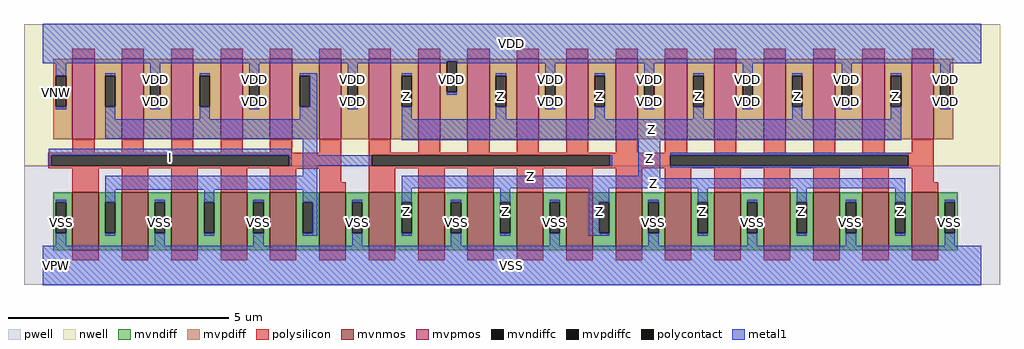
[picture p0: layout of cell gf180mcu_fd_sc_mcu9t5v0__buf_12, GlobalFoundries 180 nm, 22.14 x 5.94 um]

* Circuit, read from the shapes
.subckt gf180mcu_fd_sc_mcu9t5v0__buf_12 I Z VDD VNW VPW VSS
XM1 n1 I VSS VPW nfet_06v0 w=1.32u l=0.6u m=6
XM2 Z n1 VSS VPW nfet_06v0 w=1.32u l=0.6u m=12
XM3 n1 I VDD VNW pfet_06v0 w=1.83u l=0.5u m=6
XM4 Z n1 VDD VNW pfet_06v0 w=1.83u l=0.5u m=12
.ends

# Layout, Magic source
magic
tech gf180mcuD
magscale 1 10
<< nwell >>
rect -86 453 4342 1094
<< pwell >>
rect -86 -86 4342 453
<< mvnmos >>
rect 134 69 254 333
rect 358 69 478 333
rect 582 69 702 333
rect 806 69 926 333
rect 1030 69 1150 333
rect 1254 69 1374 333
rect 1478 69 1598 333
rect 1702 69 1822 333
rect 1926 69 2046 333
rect 2150 69 2270 333
rect 2374 69 2494 333
rect 2598 69 2718 333
rect 2822 69 2942 333
rect 3046 69 3166 333
rect 3270 69 3390 333
rect 3494 69 3614 333
rect 3718 69 3838 333
rect 3942 69 4062 333
<< mvpmos >>
rect 134 573 234 939
rect 358 573 458 939
rect 582 573 682 939
rect 806 573 906 939
rect 1030 573 1130 939
rect 1254 573 1354 939
rect 1478 573 1578 939
rect 1702 573 1802 939
rect 1926 573 2026 939
rect 2150 573 2250 939
rect 2374 573 2474 939
rect 2598 573 2698 939
rect 2822 573 2922 939
rect 3046 573 3146 939
rect 3270 573 3370 939
rect 3494 573 3594 939
rect 3718 573 3818 939
rect 3942 573 4042 939
<< mvndiff >>
rect 46 287 134 333
rect 46 147 59 287
rect 105 147 134 287
rect 46 69 134 147
rect 254 287 358 333
rect 254 147 283 287
rect 329 147 358 287
rect 254 69 358 147
rect 478 287 582 333
rect 478 147 507 287
rect 553 147 582 287
rect 478 69 582 147
rect 702 287 806 333
rect 702 147 731 287
rect 777 147 806 287
rect 702 69 806 147
rect 926 287 1030 333
rect 926 147 955 287
rect 1001 147 1030 287
rect 926 69 1030 147
rect 1150 287 1254 333
rect 1150 147 1179 287
rect 1225 147 1254 287
rect 1150 69 1254 147
rect 1374 287 1478 333
rect 1374 147 1403 287
rect 1449 147 1478 287
rect 1374 69 1478 147
rect 1598 287 1702 333
rect 1598 147 1627 287
rect 1673 147 1702 287
rect 1598 69 1702 147
rect 1822 287 1926 333
rect 1822 147 1851 287
rect 1897 147 1926 287
rect 1822 69 1926 147
rect 2046 287 2150 333
rect 2046 147 2075 287
rect 2121 147 2150 287
rect 2046 69 2150 147
rect 2270 287 2374 333
rect 2270 147 2299 287
rect 2345 147 2374 287
rect 2270 69 2374 147
rect 2494 287 2598 333
rect 2494 147 2523 287
rect 2569 147 2598 287
rect 2494 69 2598 147
rect 2718 287 2822 333
rect 2718 147 2747 287
rect 2793 147 2822 287
rect 2718 69 2822 147
rect 2942 287 3046 333
rect 2942 147 2971 287
rect 3017 147 3046 287
rect 2942 69 3046 147
rect 3166 287 3270 333
rect 3166 147 3195 287
rect 3241 147 3270 287
rect 3166 69 3270 147
rect 3390 287 3494 333
rect 3390 147 3419 287
rect 3465 147 3494 287
rect 3390 69 3494 147
rect 3614 287 3718 333
rect 3614 147 3643 287
rect 3689 147 3718 287
rect 3614 69 3718 147
rect 3838 287 3942 333
rect 3838 147 3867 287
rect 3913 147 3942 287
rect 3838 69 3942 147
rect 4062 287 4150 333
rect 4062 147 4091 287
rect 4137 147 4150 287
rect 4062 69 4150 147
<< mvpdiff >>
rect 46 861 134 939
rect 46 721 59 861
rect 105 721 134 861
rect 46 573 134 721
rect 234 861 358 939
rect 234 721 283 861
rect 329 721 358 861
rect 234 573 358 721
rect 458 861 582 939
rect 458 721 487 861
rect 533 721 582 861
rect 458 573 582 721
rect 682 861 806 939
rect 682 721 711 861
rect 757 721 806 861
rect 682 573 806 721
rect 906 861 1030 939
rect 906 721 935 861
rect 981 721 1030 861
rect 906 573 1030 721
rect 1130 861 1254 939
rect 1130 721 1164 861
rect 1210 721 1254 861
rect 1130 573 1254 721
rect 1354 861 1478 939
rect 1354 721 1383 861
rect 1429 721 1478 861
rect 1354 573 1478 721
rect 1578 861 1702 939
rect 1578 721 1627 861
rect 1673 721 1702 861
rect 1578 573 1702 721
rect 1802 926 1926 939
rect 1802 786 1831 926
rect 1877 786 1926 926
rect 1802 573 1926 786
rect 2026 861 2150 939
rect 2026 721 2055 861
rect 2101 721 2150 861
rect 2026 573 2150 721
rect 2250 861 2374 939
rect 2250 721 2279 861
rect 2325 721 2374 861
rect 2250 573 2374 721
rect 2474 861 2598 939
rect 2474 721 2503 861
rect 2549 721 2598 861
rect 2474 573 2598 721
rect 2698 861 2822 939
rect 2698 721 2727 861
rect 2773 721 2822 861
rect 2698 573 2822 721
rect 2922 861 3046 939
rect 2922 721 2951 861
rect 2997 721 3046 861
rect 2922 573 3046 721
rect 3146 861 3270 939
rect 3146 721 3175 861
rect 3221 721 3270 861
rect 3146 573 3270 721
rect 3370 861 3494 939
rect 3370 721 3399 861
rect 3445 721 3494 861
rect 3370 573 3494 721
rect 3594 861 3718 939
rect 3594 721 3623 861
rect 3669 721 3718 861
rect 3594 573 3718 721
rect 3818 861 3942 939
rect 3818 721 3847 861
rect 3893 721 3942 861
rect 3818 573 3942 721
rect 4042 861 4130 939
rect 4042 721 4071 861
rect 4117 721 4130 861
rect 4042 573 4130 721
<< mvndiffc >>
rect 59 147 105 287
rect 283 147 329 287
rect 507 147 553 287
rect 731 147 777 287
rect 955 147 1001 287
rect 1179 147 1225 287
rect 1403 147 1449 287
rect 1627 147 1673 287
rect 1851 147 1897 287
rect 2075 147 2121 287
rect 2299 147 2345 287
rect 2523 147 2569 287
rect 2747 147 2793 287
rect 2971 147 3017 287
rect 3195 147 3241 287
rect 3419 147 3465 287
rect 3643 147 3689 287
rect 3867 147 3913 287
rect 4091 147 4137 287
<< mvpdiffc >>
rect 59 721 105 861
rect 283 721 329 861
rect 487 721 533 861
rect 711 721 757 861
rect 935 721 981 861
rect 1164 721 1210 861
rect 1383 721 1429 861
rect 1627 721 1673 861
rect 1831 786 1877 926
rect 2055 721 2101 861
rect 2279 721 2325 861
rect 2503 721 2549 861
rect 2727 721 2773 861
rect 2951 721 2997 861
rect 3175 721 3221 861
rect 3399 721 3445 861
rect 3623 721 3669 861
rect 3847 721 3893 861
rect 4071 721 4117 861
<< polysilicon >>
rect 134 939 234 983
rect 358 939 458 983
rect 582 939 682 983
rect 806 939 906 983
rect 1030 939 1130 983
rect 1254 939 1354 983
rect 1478 939 1578 983
rect 1702 939 1802 983
rect 1926 939 2026 983
rect 2150 939 2250 983
rect 2374 939 2474 983
rect 2598 939 2698 983
rect 2822 939 2922 983
rect 3046 939 3146 983
rect 3270 939 3370 983
rect 3494 939 3594 983
rect 3718 939 3818 983
rect 3942 939 4042 983
rect 134 513 234 573
rect 358 513 458 573
rect 582 513 682 573
rect 806 513 906 573
rect 1030 513 1130 573
rect 1254 513 1354 573
rect 24 500 1354 513
rect 24 454 37 500
rect 1117 454 1354 500
rect 24 441 1354 454
rect 134 333 254 441
rect 358 333 478 441
rect 582 333 702 441
rect 806 333 926 441
rect 1030 439 1354 441
rect 1030 333 1150 439
rect 1254 377 1354 439
rect 1478 513 1578 573
rect 1702 513 1802 573
rect 1926 513 2026 573
rect 2150 513 2250 573
rect 2374 513 2474 573
rect 2598 513 2698 573
rect 1478 511 2698 513
rect 2822 513 2922 573
rect 3046 513 3146 573
rect 3270 513 3370 573
rect 3494 513 3594 573
rect 3718 513 3818 573
rect 3942 513 4042 573
rect 2822 511 4042 513
rect 1478 500 4042 511
rect 1478 454 1491 500
rect 2571 454 2846 500
rect 3926 454 4042 500
rect 1478 441 4042 454
rect 1254 333 1374 377
rect 1478 333 1598 441
rect 1702 333 1822 441
rect 1926 333 2046 441
rect 2150 333 2270 441
rect 2374 333 2494 441
rect 2598 333 2718 441
rect 2822 333 2942 441
rect 3046 333 3166 441
rect 3270 333 3390 441
rect 3494 333 3614 441
rect 3718 333 3838 441
rect 3942 377 4042 441
rect 3942 333 4062 377
rect 134 25 254 69
rect 358 25 478 69
rect 582 25 702 69
rect 806 25 926 69
rect 1030 25 1150 69
rect 1254 25 1374 69
rect 1478 25 1598 69
rect 1702 25 1822 69
rect 1926 25 2046 69
rect 2150 25 2270 69
rect 2374 25 2494 69
rect 2598 25 2718 69
rect 2822 25 2942 69
rect 3046 25 3166 69
rect 3270 25 3390 69
rect 3494 25 3614 69
rect 3718 25 3838 69
rect 3942 25 4062 69
<< polycontact >>
rect 37 454 1117 500
rect 1491 454 2571 500
rect 2846 454 3926 500
<< metal1 >>
rect 0 926 4256 1098
rect 0 918 1831 926
rect 59 861 105 918
rect 59 710 105 721
rect 283 861 329 872
rect 283 664 329 721
rect 487 861 533 918
rect 487 710 533 721
rect 711 861 757 872
rect 711 664 757 721
rect 935 861 981 918
rect 935 710 981 721
rect 1164 861 1245 872
rect 1210 721 1245 861
rect 1164 664 1245 721
rect 1383 861 1429 918
rect 1383 710 1429 721
rect 1627 861 1673 872
rect 1877 918 4256 926
rect 1831 775 1877 786
rect 2055 861 2101 872
rect 283 576 1245 664
rect 26 500 1128 530
rect 26 454 37 500
rect 1117 454 1128 500
rect 1179 500 1245 576
rect 1627 664 1673 721
rect 2055 664 2101 721
rect 2279 861 2325 918
rect 2279 710 2325 721
rect 2503 861 2549 872
rect 2503 664 2549 721
rect 2727 861 2773 918
rect 2727 710 2773 721
rect 2951 861 2997 872
rect 2951 664 2997 721
rect 3175 861 3221 918
rect 3175 710 3221 721
rect 3399 861 3445 872
rect 3399 664 3445 721
rect 3623 861 3669 918
rect 3623 710 3669 721
rect 3847 861 3893 872
rect 3847 664 3893 721
rect 4071 861 4117 918
rect 4071 710 4117 721
rect 1627 568 3893 664
rect 1179 454 1491 500
rect 2571 454 2582 500
rect 1179 408 1245 454
rect 2700 408 2800 568
rect 2846 500 3926 511
rect 2846 443 3926 454
rect 283 344 1245 408
rect 59 287 105 298
rect 59 90 105 147
rect 283 287 329 344
rect 283 136 329 147
rect 507 287 553 298
rect 507 90 553 147
rect 731 287 777 344
rect 731 136 777 147
rect 955 287 1001 298
rect 955 90 1001 147
rect 1179 287 1245 344
rect 1627 397 2800 408
rect 1627 351 3913 397
rect 1225 147 1245 287
rect 1179 136 1245 147
rect 1403 287 1449 298
rect 1403 90 1449 147
rect 1627 287 1673 351
rect 1627 136 1673 147
rect 1851 287 1897 298
rect 1851 90 1897 147
rect 2075 287 2121 351
rect 2075 136 2121 147
rect 2299 287 2345 298
rect 2299 90 2345 147
rect 2477 287 2569 351
rect 2477 147 2523 287
rect 2477 136 2569 147
rect 2747 287 2793 298
rect 2747 90 2793 147
rect 2971 287 3017 351
rect 2971 136 3017 147
rect 3195 287 3241 298
rect 3195 90 3241 147
rect 3419 287 3465 351
rect 3419 136 3465 147
rect 3643 287 3689 298
rect 3643 90 3689 147
rect 3867 287 3913 351
rect 3867 136 3913 147
rect 4091 287 4137 298
rect 4091 90 4137 147
rect 0 -90 4256 90
<< labels >>
flabel metal1 s 26 454 1128 530 0 FreeSans 200 0 0 0 I
port 1 nsew default input
flabel metal1 s 0 918 4256 1098 0 FreeSans 200 0 0 0 VDD
port 3 nsew power bidirectional abutment
flabel metal1 s 4091 90 4137 298 0 FreeSans 200 0 0 0 VSS
port 6 nsew ground bidirectional abutment
flabel metal1 s 3847 664 3893 872 0 FreeSans 200 0 0 0 Z
port 2 nsew default output
flabel nwell s 10 734 110 834 0 FreeSans 400 0 0 0 VNW
port 4 nsew power bidirectional
flabel pwell s 10 -50 110 50 0 FreeSans 400 0 0 0 VPW
port 5 nsew ground bidirectional
rlabel metal1 s 3399 664 3445 872 1 Z
port 2 nsew default output
rlabel metal1 s 2951 664 2997 872 1 Z
port 2 nsew default output
rlabel metal1 s 2503 664 2549 872 1 Z
port 2 nsew default output
rlabel metal1 s 2055 664 2101 872 1 Z
port 2 nsew default output
rlabel metal1 s 1627 664 1673 872 1 Z
port 2 nsew default output
rlabel metal1 s 1627 568 3893 664 1 Z
port 2 nsew default output
rlabel metal1 s 2700 408 2800 568 1 Z
port 2 nsew default output
rlabel metal1 s 1627 397 2800 408 1 Z
port 2 nsew default output
rlabel metal1 s 1627 351 3913 397 1 Z
port 2 nsew default output
rlabel metal1 s 3867 136 3913 351 1 Z
port 2 nsew default output
rlabel metal1 s 3419 136 3465 351 1 Z
port 2 nsew default output
rlabel metal1 s 2971 136 3017 351 1 Z
port 2 nsew default output
rlabel metal1 s 2477 136 2569 351 1 Z
port 2 nsew default output
rlabel metal1 s 2075 136 2121 351 1 Z
port 2 nsew default output
rlabel metal1 s 1627 136 1673 351 1 Z
port 2 nsew default output
rlabel metal1 s 4071 775 4117 918 1 VDD
port 3 nsew power bidirectional abutment
rlabel metal1 s 3623 775 3669 918 1 VDD
port 3 nsew power bidirectional abutment
rlabel metal1 s 3175 775 3221 918 1 VDD
port 3 nsew power bidirectional abutment
rlabel metal1 s 2727 775 2773 918 1 VDD
port 3 nsew power bidirectional abutment
rlabel metal1 s 2279 775 2325 918 1 VDD
port 3 nsew power bidirectional abutment
rlabel metal1 s 1831 775 1877 918 1 VDD
port 3 nsew power bidirectional abutment
rlabel metal1 s 1383 775 1429 918 1 VDD
port 3 nsew power bidirectional abutment
rlabel metal1 s 935 775 981 918 1 VDD
port 3 nsew power bidirectional abutment
rlabel metal1 s 487 775 533 918 1 VDD
port 3 nsew power bidirectional abutment
rlabel metal1 s 59 775 105 918 1 VDD
port 3 nsew power bidirectional abutment
rlabel metal1 s 4071 710 4117 775 1 VDD
port 3 nsew power bidirectional abutment
rlabel metal1 s 3623 710 3669 775 1 VDD
port 3 nsew power bidirectional abutment
rlabel metal1 s 3175 710 3221 775 1 VDD
port 3 nsew power bidirectional abutment
rlabel metal1 s 2727 710 2773 775 1 VDD
port 3 nsew power bidirectional abutment
rlabel metal1 s 2279 710 2325 775 1 VDD
port 3 nsew power bidirectional abutment
rlabel metal1 s 1383 710 1429 775 1 VDD
port 3 nsew power bidirectional abutment
rlabel metal1 s 935 710 981 775 1 VDD
port 3 nsew power bidirectional abutment
rlabel metal1 s 487 710 533 775 1 VDD
port 3 nsew power bidirectional abutment
rlabel metal1 s 59 710 105 775 1 VDD
port 3 nsew power bidirectional abutment
rlabel metal1 s 3643 90 3689 298 1 VSS
port 6 nsew ground bidirectional abutment
rlabel metal1 s 3195 90 3241 298 1 VSS
port 6 nsew ground bidirectional abutment
rlabel metal1 s 2747 90 2793 298 1 VSS
port 6 nsew ground bidirectional abutment
rlabel metal1 s 2299 90 2345 298 1 VSS
port 6 nsew ground bidirectional abutment
rlabel metal1 s 1851 90 1897 298 1 VSS
port 6 nsew ground bidirectional abutment
rlabel metal1 s 1403 90 1449 298 1 VSS
port 6 nsew ground bidirectional abutment
rlabel metal1 s 955 90 1001 298 1 VSS
port 6 nsew ground bidirectional abutment
rlabel metal1 s 507 90 553 298 1 VSS
port 6 nsew ground bidirectional abutment
rlabel metal1 s 59 90 105 298 1 VSS
port 6 nsew ground bidirectional abutment
rlabel metal1 s 0 -90 4256 90 1 VSS
port 6 nsew ground bidirectional abutment
<< properties >>
string FIXED_BBOX 0 0 4256 1008
string GDS_END 1293486
string GDS_FILE $PDKPATH/libs.ref/gf180mcu_fd_sc_mcu9t5v0/gds/gf180mcu_fd_sc_mcu9t5v0.gds
string GDS_START 1282216
string LEFclass core
string LEFsite GF018hv5v_green_sc9
string LEFsymmetry X Y
<< end >>
